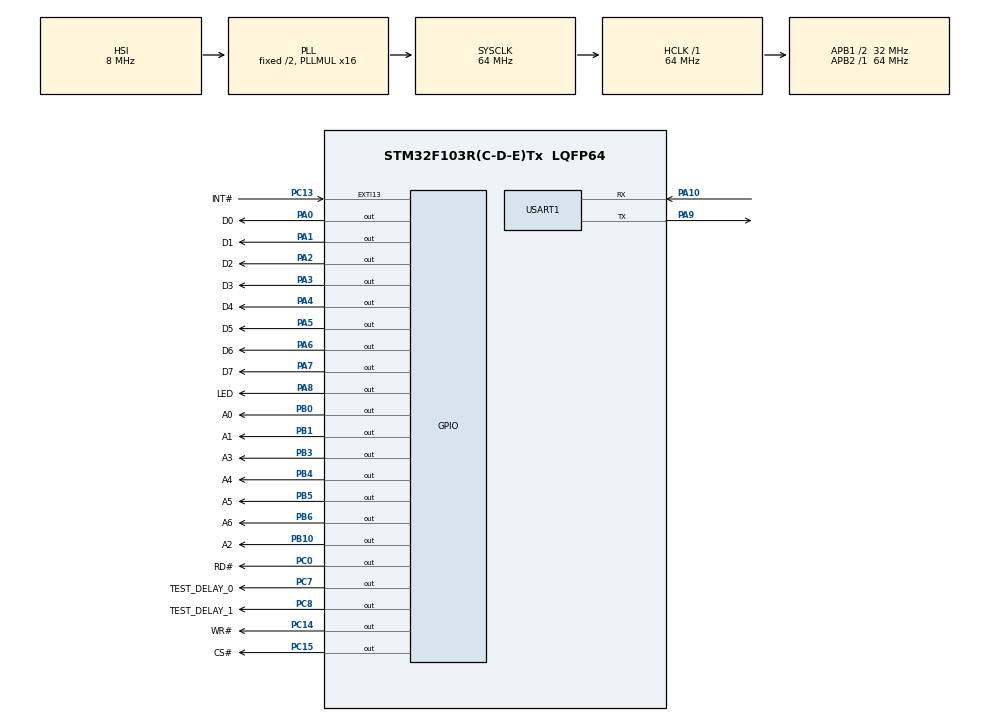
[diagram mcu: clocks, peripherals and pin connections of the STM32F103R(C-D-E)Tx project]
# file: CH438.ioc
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Mcu.Family=STM32F1
Mcu.Name=STM32F103R(C-D-E)Tx
Mcu.Package=LQFP64
NVIC.EXTI15_10_IRQn=true\:0\:0\:false\:false\:true\:true\:true
NVIC.PriorityGroup=NVIC_PRIORITYGROUP_4
PA0-WKUP.GPIO_Label=D0
PA0-WKUP.Signal=GPIO_Output
PA1.GPIO_Label=D1
PA1.Signal=GPIO_Output
PA10.Mode=Asynchronous
PA10.Signal=USART1_RX
PA13.Mode=Serial_Wire
PA13.Signal=SYS_JTMS-SWDIO
PA14.Mode=Serial_Wire
PA14.Signal=SYS_JTCK-SWCLK
PA2.GPIO_Label=D2
PA2.Signal=GPIO_Output
PA3.GPIO_Label=D3
PA3.Signal=GPIO_Output
PA4.GPIO_Label=D4
PA4.Signal=GPIO_Output
PA5.GPIO_Label=D5
PA5.Signal=GPIO_Output
PA6.GPIO_Label=D6
PA6.Signal=GPIO_Output
PA7.GPIO_Label=D7
PA7.Signal=GPIO_Output
PA8.GPIO_Label=LED
PA8.Signal=GPIO_Output
PA9.Mode=Asynchronous
PA9.Signal=USART1_TX
PB0.GPIO_Label=A0
PB0.Signal=GPIO_Output
PB1.GPIO_Label=A1
PB1.Signal=GPIO_Output
PB10.GPIO_Label=A2
PB10.Signal=GPIO_Output
PB3.GPIO_Label=A3
PB3.Signal=GPIO_Output
PB4.GPIO_Label=A4
PB4.Signal=GPIO_Output
PB5.GPIO_Label=A5
PB5.Signal=GPIO_Output
PB6.GPIO_Label=A6
PB6.Signal=GPIO_Output
PC0.GPIO_Label=RD\#
PC0.Signal=GPIO_Output
PC13-TAMPER-RTC.GPIO_Label=INT\#
PC13-TAMPER-RTC.GPIO_ModeDefaultEXTI=GPIO_MODE_IT_FALLING
PC13-TAMPER-RTC.GPIO_PuPd=GPIO_PULLUP
PC13-TAMPER-RTC.Signal=GPXTI13
PC14-OSC32_IN.GPIO_Label=WR\#
PC14-OSC32_IN.Signal=GPIO_Output
PC15-OSC32_OUT.GPIO_Label=CS\#
PC15-OSC32_OUT.Signal=GPIO_Output
PC7.GPIO_Label=TEST_DELAY_0
PC7.GPIO_Speed=GPIO_SPEED_FREQ_MEDIUM
PC7.Signal=GPIO_Output
PC8.GPIO_Label=TEST_DELAY_1
PC8.Signal=GPIO_Output
ProjectManager.HeapSize=0x200
ProjectManager.StackSize=0x400
ProjectManager.TargetToolchain=MDK-ARM V5.32
RCC.AHBFreq_Value=64000000
RCC.APB1CLKDivider=RCC_HCLK_DIV2
RCC.APB1Freq_Value=32000000
RCC.APB1TimFreq_Value=64000000
RCC.APB2Freq_Value=64000000
RCC.APB2TimFreq_Value=64000000
RCC.HCLKFreq_Value=64000000
RCC.PLLMUL=RCC_PLL_MUL16
RCC.SYSCLKFreq_VALUE=64000000
RCC.SYSCLKSource=RCC_SYSCLKSOURCE_PLLCLK
RCC.USBFreq_Value=64000000
USART1.VirtualMode=VM_ASYNC
board=custom

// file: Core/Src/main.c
/* USER CODE BEGIN Header */
/**
  ******************************************************************************
  * @file           : main.c
  * @brief          : Main program body
  ******************************************************************************
  * @attention
  *
  * <h2><center>&copy; Copyright (c) 2021 STMicroelectronics.
  * All rights reserved.</center></h2>
  *
  * This software component is licensed by ST under BSD 3-Clause license,
  * the "License"; You may not use this file except in compliance with the
  * License. You may obtain a copy of the License at:
  *                        opensource.org/licenses/BSD-3-Clause
  *
  ******************************************************************************
  */
/* USER CODE END Header */
#include "main.h"
#include "usart.h"
#include "gpio.h"

/* USER CODE BEGIN Includes */
// #include "include.h"
#include "HAL_CH438UART.h"
/* USER CODE END Includes */

void SystemClock_Config(void);

/* USER CODE BEGIN 0 */

void ledBlink() {
	HAL_GPIO_WritePin(LED_GPIO_Port, LED_Pin, GPIO_PIN_SET);
	HAL_Delay(200);
	HAL_GPIO_WritePin(LED_GPIO_Port, LED_Pin, GPIO_PIN_RESET);
	HAL_Delay(200);
	HAL_GPIO_WritePin(LED_GPIO_Port, LED_Pin, GPIO_PIN_SET);
	HAL_Delay(200);
	HAL_GPIO_WritePin(LED_GPIO_Port, LED_Pin, GPIO_PIN_RESET);
}

void InitCH438() {
	InitCH438UART0();
	InitCH438UART1();
	InitCH438UART2();
	InitCH438UART3();
	InitCH438UART4();
	InitCH438UART5();
	InitCH438UART6();
	InitCH438UART7();
}

#define DELAY_0_LOW  HAL_GPIO_WritePin(TEST_DELAY_0_GPIO_Port, TEST_DELAY_0_Pin, GPIO_PIN_RESET);
#define DELAY_1_LOW HAL_GPIO_WritePin(TEST_DELAY_1_GPIO_Port, TEST_DELAY_1_Pin, GPIO_PIN_RESET);
/* USER CODE END 0 */

int main(void)
{

  /* MCU Configuration--------------------------------------------------------*/

  /* Reset of all peripherals, Initializes the Flash interface and the Systick. */
  HAL_Init();

  /* Configure the system clock */
  SystemClock_Config();

  /* Initialize all configured peripherals */
  MX_GPIO_Init();
  MX_USART1_UART_Init();
  /* USER CODE BEGIN 2 */
    CH438_PORT_INIT();
    HAL_Delay(20);
    // InitCH438();
    CH438_InitAll();
    ledBlink();
    DELAY_0_LOW
    DELAY_1_LOW
  /* USER CODE END 2 */

  /* Infinite loop */
  /* USER CODE BEGIN WHILE */
  while (1)
  {
    //uint8_t recvData = UART0_RcvByte();
    // UART0_SendByte(0xF1);
    // UART1_SendByte(0xF2);
    // UART2_SendByte(0xF3);
    // UART3_SendByte(0xF4);
    // UART4_SendByte(0xF5);
    // UART5_SendByte(0xF6);
    // UART6_SendByte(0xF7);
    // UART7_SendByte(0xF8);
    /* USER CODE END WHILE */

  }
}

void SystemClock_Config(void)
{
  RCC_OscInitTypeDef RCC_OscInitStruct = {0};
  RCC_ClkInitTypeDef RCC_ClkInitStruct = {0};

  /** Initializes the RCC Oscillators according to the specified parameters
  * in the RCC_OscInitTypeDef structure.
  */
  RCC_OscInitStruct.OscillatorType = RCC_OSCILLATORTYPE_HSI;
  RCC_OscInitStruct.HSIState = RCC_HSI_ON;
  RCC_OscInitStruct.HSICalibrationValue = RCC_HSICALIBRATION_DEFAULT;
  RCC_OscInitStruct.PLL.PLLState = RCC_PLL_ON;
  RCC_OscInitStruct.PLL.PLLSource = RCC_PLLSOURCE_HSI_DIV2;
  RCC_OscInitStruct.PLL.PLLMUL = RCC_PLL_MUL16;
  if (HAL_RCC_OscConfig(&RCC_OscInitStruct) != HAL_OK)
  {
    Error_Handler();
  }
  /** Initializes the CPU, AHB and APB buses clocks
  */
  RCC_ClkInitStruct.ClockType = RCC_CLOCKTYPE_HCLK|RCC_CLOCKTYPE_SYSCLK
                              |RCC_CLOCKTYPE_PCLK1|RCC_CLOCKTYPE_PCLK2;
  RCC_ClkInitStruct.SYSCLKSource = RCC_SYSCLKSOURCE_PLLCLK;
  RCC_ClkInitStruct.AHBCLKDivider = RCC_SYSCLK_DIV1;
  RCC_ClkInitStruct.APB1CLKDivider = RCC_HCLK_DIV2;
  RCC_ClkInitStruct.APB2CLKDivider = RCC_HCLK_DIV1;

  if (HAL_RCC_ClockConfig(&RCC_ClkInitStruct, FLASH_LATENCY_2) != HAL_OK)
  {
    Error_Handler();
  }
}

void Error_Handler(void)
{
  __disable_irq();
  while (1)
  {
  }
}

/************************ (C) COPYRIGHT STMicroelectronics *****END OF FILE****/
